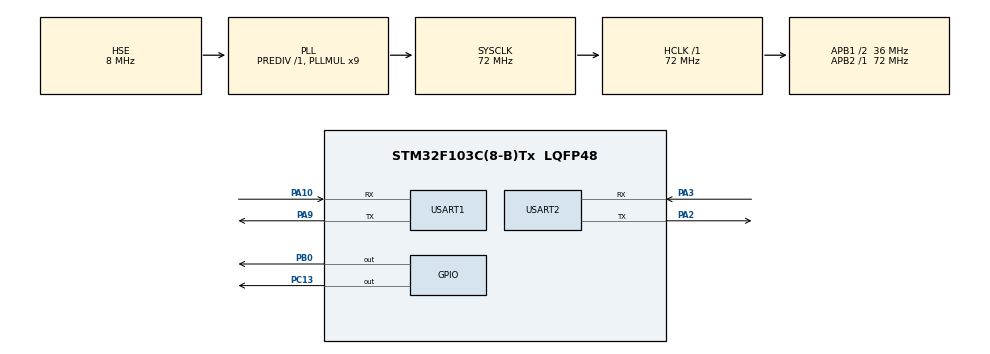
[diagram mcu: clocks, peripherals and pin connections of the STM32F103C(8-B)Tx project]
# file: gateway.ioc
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Mcu.Family=STM32F1
Mcu.Name=STM32F103C(8-B)Tx
Mcu.Package=LQFP48
NVIC.PriorityGroup=NVIC_PRIORITYGROUP_4
NVIC.USART1_IRQn=true\:2\:0\:true\:false\:true\:true\:true\:true
PA10.Mode=Asynchronous
PA10.Signal=USART1_RX
PA13.Mode=Serial_Wire
PA13.Signal=SYS_JTMS-SWDIO
PA14.Mode=Serial_Wire
PA14.Signal=SYS_JTCK-SWCLK
PA2.Mode=Asynchronous
PA2.Signal=USART2_TX
PA3.Mode=Asynchronous
PA3.Signal=USART2_RX
PA9.Mode=Asynchronous
PA9.Signal=USART1_TX
PB0.Signal=GPIO_Output
PC13-TAMPER-RTC.Signal=GPIO_Output
PD0-OSC_IN.Mode=HSE-External-Oscillator
PD0-OSC_IN.Signal=RCC_OSC_IN
PD1-OSC_OUT.Mode=HSE-External-Oscillator
PD1-OSC_OUT.Signal=RCC_OSC_OUT
ProjectManager.HeapSize=0x200
ProjectManager.StackSize=0x400
ProjectManager.TargetToolchain=Makefile
RCC.AHBFreq_Value=72000000
RCC.APB1CLKDivider=RCC_HCLK_DIV2
RCC.APB1Freq_Value=36000000
RCC.APB1TimFreq_Value=72000000
RCC.APB2Freq_Value=72000000
RCC.APB2TimFreq_Value=72000000
RCC.HCLKFreq_Value=72000000
RCC.PLLMUL=RCC_PLL_MUL9
RCC.PLLSourceVirtual=RCC_PLLSOURCE_HSE
RCC.SYSCLKFreq_VALUE=72000000
RCC.SYSCLKSource=RCC_SYSCLKSOURCE_PLLCLK
RCC.USBFreq_Value=72000000
USART1.VirtualMode=VM_ASYNC
USART2.VirtualMode=VM_ASYNC
VP_TIM4_VS_ClockSourceINT.Mode=Internal
board=custom

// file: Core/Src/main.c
/* USER CODE BEGIN Header */
/**
  ******************************************************************************
  * @file           : main.c
  * @brief          : Main program body
  ******************************************************************************
  * @attention
  *
  * Copyright (c) 2025 STMicroelectronics.
  * All rights reserved.
  *
  * This software is licensed under terms that can be found in the LICENSE file
  * in the root directory of this software component.
  * If no LICENSE file comes with this software, it is provided AS-IS.
  *
  ******************************************************************************
  */
/* USER CODE END Header */
#include "main.h"

/* USER CODE BEGIN Includes */
#include <string.h>
#include <stdio.h>
#include "pzem.h"
/* USER CODE END Includes */

TIM_HandleTypeDef htim4;

UART_HandleTypeDef huart1;
UART_HandleTypeDef huart2;

void SystemClock_Config(void);
static void MX_GPIO_Init(void);
static void MX_TIM4_Init(void);
static void MX_USART1_UART_Init(void);
static void MX_USART2_UART_Init(void);
/* USER CODE BEGIN PFP */
void microDelay(uint16_t delay);
uint8_t DHT22_Start(void);
uint8_t DHT22_Read(void);
void DHT22(void);
/* USER CODE END PFP */

/* USER CODE BEGIN 0 */

#define DHT22_PORT GPIOB
#define DHT22_PIN GPIO_PIN_9
#define CHANNEL 0x0D      // Địa chỉ của thiết bị gửi 0x0D - 13 || 0x0B - 11 || 0x0A - 10
#define DEST_ADDRESS_HIGH 0x00         // Địa chỉ của thiết bị nhận (160)
#define DEST_ADDRESS_LOW 0xA0 //0xA0 - 160 || 0x8C - 140 || 0x96 - 150
uint8_t RH1, RH2, TC1, TC2, SUM, CHECK;
uint32_t pMillis, cMillis;
float Temp = 0;
float RH = 0;

uint8_t rxData;
//uint8_t rxBuffer[10] = {0};
//uint8_t rxIndex = 0;
//uint8_t dataReady = 0;
uint8_t led = 0;

// LoRa Message
char ID[20] = "R11";          // ID thiết bị
float Temperature;
float Humidity;       // Nhiệt độ và độ ẩm
float Energy;     // Năng lượng tiêu thụ
float Voltage;      // Điện áp
float Current;       // Dòng điện
float Power;     // Công suất

char loraMessage[128];    // Payload dữ liệu
uint8_t loraPacket[128]; // Buffer gói tin LoRa

void microDelay (uint16_t delay)
{
  __HAL_TIM_SET_COUNTER(&htim4, 0);
  while (__HAL_TIM_GET_COUNTER(&htim4) < delay);
}

//DHT22
uint8_t DHT22_Start (void)
{
  uint8_t Response = 0;
  GPIO_InitTypeDef GPIO_InitStructPrivate = {0};
  GPIO_InitStructPrivate.Pin = DHT22_PIN;
  GPIO_InitStructPrivate.Mode = GPIO_MODE_OUTPUT_PP;
  GPIO_InitStructPrivate.Speed = GPIO_SPEED_FREQ_LOW;
  GPIO_InitStructPrivate.Pull = GPIO_NOPULL;
  HAL_GPIO_Init(DHT22_PORT, &GPIO_InitStructPrivate); // set the pin as output
  HAL_GPIO_WritePin (DHT22_PORT, DHT22_PIN, 0);   // pull the pin low
  microDelay (1300);   // wait for 1300us
  HAL_GPIO_WritePin (DHT22_PORT, DHT22_PIN, 1);   // pull the pin high
  microDelay (30);   // wait for 30us
  GPIO_InitStructPrivate.Mode = GPIO_MODE_INPUT;
  GPIO_InitStructPrivate.Pull = GPIO_PULLUP;
  HAL_GPIO_Init(DHT22_PORT, &GPIO_InitStructPrivate); // set the pin as input
  microDelay (40);
  if (!(HAL_GPIO_ReadPin (DHT22_PORT, DHT22_PIN)))
  {
    microDelay (80);
    if ((HAL_GPIO_ReadPin (DHT22_PORT, DHT22_PIN))) Response = 1;
  }
  pMillis = HAL_GetTick();
  cMillis = HAL_GetTick();
  while ((HAL_GPIO_ReadPin (DHT22_PORT, DHT22_PIN)) && pMillis + 2 > cMillis)
  {
    cMillis = HAL_GetTick();
  }
  return Response;
}

uint8_t DHT22_Read (void)
{
  uint8_t a,b =0;
  for (a=0;a<8;a++)
  {
    pMillis = HAL_GetTick();
    cMillis = HAL_GetTick();
    while (!(HAL_GPIO_ReadPin (DHT22_PORT, DHT22_PIN)) && pMillis + 2 > cMillis)
    {  // wait for the pin to go high
      cMillis = HAL_GetTick();
    }
    microDelay (40);   // wait for 40 us
    if (!(HAL_GPIO_ReadPin (DHT22_PORT, DHT22_PIN)))   // if the pin is low
      b&= ~(1<<(7-a)); //bit 0
    else
      b|= (1<<(7-a)); // bit 1
    pMillis = HAL_GetTick();
    cMillis = HAL_GetTick();
    while ((HAL_GPIO_ReadPin (DHT22_PORT, DHT22_PIN)) && pMillis + 2 > cMillis)
    {  // wait for the pin to go low
      cMillis = HAL_GetTick();
    }
  }
  return b;
}
void DHT22(){
	if(DHT22_Start())
	      {
	        RH1 = DHT22_Read(); // First 8bits of humidity
	        RH2 = DHT22_Read(); // Second 8bits of Relative humidity
	        TC1 = DHT22_Read(); // First 8bits of Celsius
	        TC2 = DHT22_Read(); // Second 8bits of Celsius
	        SUM = DHT22_Read(); // Check sum
	        CHECK = RH1 + RH2 + TC1 + TC2;
	        if (CHECK == SUM)
	        {
	          if (TC1>127) // If TC1=10000000, negative temperature
	          {
	            Temp = (float)TC2/10*(-1);
	          }
	          else
	          {
	            Temp = (float)((TC1<<8)|TC2)/10;
	          }
	          RH = (float) ((RH1<<8)|RH2)/10;
	        }
	      }
}

//DHT22

volatile uint8_t _flag = 0;

void HAL_UART_RxCpltCallback(UART_HandleTypeDef *huart)
{
    if (huart->Instance == USART1) {
        if (rxData == 1) {
            HAL_GPIO_WritePin(GPIOB, GPIO_PIN_0, GPIO_PIN_SET);
        } else {
            HAL_GPIO_WritePin(GPIOB, GPIO_PIN_0, GPIO_PIN_RESET);
        }

        _flag = !_flag; // Đổi trạng thái để task biết đã có dữ liệu

        // Gọi lại nhận UART để tiếp tục nhận byte tiếp theo
        HAL_UART_Receive_IT(&huart1, &rxData, 1);
    }
}

PZEM PzemData;

/* USER CODE END 0 */

int main(void)
{

  /* MCU Configuration--------------------------------------------------------*/

  /* Reset of all peripherals, Initializes the Flash interface and the Systick. */
  HAL_Init();

  /* Configure the system clock */
  SystemClock_Config();

  /* Initialize all configured peripherals */
  MX_GPIO_Init();
  MX_TIM4_Init();
  MX_USART1_UART_Init();
  MX_USART2_UART_Init();
  /* USER CODE BEGIN 2 */
  HAL_TIM_Base_Start(&htim4);
  HAL_UART_Receive_IT(&huart1, &rxData, 1);
  pzem_Init(&huart2);

  /* USER CODE END 2 */

  /* Infinite loop */
  while (1)
  {

    /* USER CODE BEGIN 3 */
    // Đọc dữ liệu từ DHT22
    DHT22();
    pzem_READ(&PzemData);
    Energy =PzemData.energy;
    Current = PzemData.current;
    Voltage = PzemData.voltage;
    Power = PzemData.power;

    // Tạo payload
    if (Temp == -999.0 || RH == -999.0)
    {
      sprintf(loraMessage, "Temp: N/A, RH: N/A");
    }
    else
    {
      // Chuyển đổi float thành int để tránh vấn đề với sprintf không hỗ trợ float
      Temperature = Temp;
      Humidity = RH;
    }

    HAL_GPIO_TogglePin(GPIOC, GPIO_PIN_13);
    sprintf(loraMessage, "ID:%s,T:%.2f,H:%.2f,E:%.2f,C:%.2f,V:%.2f,P:%.2f",
    ID, Temperature, Humidity, Energy, Current, Voltage, Power);

    // Tạo gói tin LoRa với địa chỉ
    uint8_t packetLen = 0;
    loraPacket[packetLen++] = DEST_ADDRESS_HIGH;   // Địa chỉ thiết bị nhận (160)
    loraPacket[packetLen++] = DEST_ADDRESS_LOW;
    loraPacket[packetLen++] = CHANNEL; //  thiết bị gửi đến kênh
    memcpy(&loraPacket[packetLen], loraMessage, strlen(loraMessage)); // Payload
    packetLen += strlen(loraMessage);
    loraPacket[packetLen++] = '\n'; // Kết thúc gói tin

    // Gửi qua UART1 (LoRa)
    HAL_UART_Transmit(&huart1, loraPacket, packetLen, HAL_MAX_DELAY);

    HAL_Delay(500);
  }
  /* USER CODE END 3 */
}

void SystemClock_Config(void)
{
  RCC_OscInitTypeDef RCC_OscInitStruct = {0};
  RCC_ClkInitTypeDef RCC_ClkInitStruct = {0};

  /** Initializes the RCC Oscillators according to the specified parameters
  * in the RCC_OscInitTypeDef structure.
  */
  RCC_OscInitStruct.OscillatorType = RCC_OSCILLATORTYPE_HSE;
  RCC_OscInitStruct.HSEState = RCC_HSE_ON;
  RCC_OscInitStruct.HSEPredivValue = RCC_HSE_PREDIV_DIV1;
  RCC_OscInitStruct.HSIState = RCC_HSI_ON;
  RCC_OscInitStruct.PLL.PLLState = RCC_PLL_ON;
  RCC_OscInitStruct.PLL.PLLSource = RCC_PLLSOURCE_HSE;
  RCC_OscInitStruct.PLL.PLLMUL = RCC_PLL_MUL9;
  if (HAL_RCC_OscConfig(&RCC_OscInitStruct) != HAL_OK)
  {
    Error_Handler();
  }

  /** Initializes the CPU, AHB and APB buses clocks
  */
  RCC_ClkInitStruct.ClockType = RCC_CLOCKTYPE_HCLK|RCC_CLOCKTYPE_SYSCLK
                              |RCC_CLOCKTYPE_PCLK1|RCC_CLOCKTYPE_PCLK2;
  RCC_ClkInitStruct.SYSCLKSource = RCC_SYSCLKSOURCE_PLLCLK;
  RCC_ClkInitStruct.AHBCLKDivider = RCC_SYSCLK_DIV1;
  RCC_ClkInitStruct.APB1CLKDivider = RCC_HCLK_DIV2;
  RCC_ClkInitStruct.APB2CLKDivider = RCC_HCLK_DIV1;

  if (HAL_RCC_ClockConfig(&RCC_ClkInitStruct, FLASH_LATENCY_2) != HAL_OK)
  {
    Error_Handler();
  }
}

static void MX_TIM4_Init(void)
{

  TIM_ClockConfigTypeDef sClockSourceConfig = {0};
  TIM_MasterConfigTypeDef sMasterConfig = {0};

  htim4.Instance = TIM4;
  htim4.Init.Prescaler = 72-1;
  htim4.Init.CounterMode = TIM_COUNTERMODE_UP;
  htim4.Init.Period = 65535;
  htim4.Init.ClockDivision = TIM_CLOCKDIVISION_DIV1;
  htim4.Init.AutoReloadPreload = TIM_AUTORELOAD_PRELOAD_DISABLE;
  if (HAL_TIM_Base_Init(&htim4) != HAL_OK)
  {
    Error_Handler();
  }
  sClockSourceConfig.ClockSource = TIM_CLOCKSOURCE_INTERNAL;
  if (HAL_TIM_ConfigClockSource(&htim4, &sClockSourceConfig) != HAL_OK)
  {
    Error_Handler();
  }
  sMasterConfig.MasterOutputTrigger = TIM_TRGO_RESET;
  sMasterConfig.MasterSlaveMode = TIM_MASTERSLAVEMODE_DISABLE;
  if (HAL_TIMEx_MasterConfigSynchronization(&htim4, &sMasterConfig) != HAL_OK)
  {
    Error_Handler();
  }

}

static void MX_USART1_UART_Init(void)
{

  huart1.Instance = USART1;
  huart1.Init.BaudRate = 9600;
  huart1.Init.WordLength = UART_WORDLENGTH_8B;
  huart1.Init.StopBits = UART_STOPBITS_1;
  huart1.Init.Parity = UART_PARITY_NONE;
  huart1.Init.Mode = UART_MODE_TX_RX;
  huart1.Init.HwFlowCtl = UART_HWCONTROL_NONE;
  huart1.Init.OverSampling = UART_OVERSAMPLING_16;
  if (HAL_UART_Init(&huart1) != HAL_OK)
  {
    Error_Handler();
  }

}

static void MX_USART2_UART_Init(void)
{

  huart2.Instance = USART2;
  huart2.Init.BaudRate = 9600;
  huart2.Init.WordLength = UART_WORDLENGTH_8B;
  huart2.Init.StopBits = UART_STOPBITS_1;
  huart2.Init.Parity = UART_PARITY_NONE;
  huart2.Init.Mode = UART_MODE_TX_RX;
  huart2.Init.HwFlowCtl = UART_HWCONTROL_NONE;
  huart2.Init.OverSampling = UART_OVERSAMPLING_16;
  if (HAL_UART_Init(&huart2) != HAL_OK)
  {
    Error_Handler();
  }

}

static void MX_GPIO_Init(void)
{
  GPIO_InitTypeDef GPIO_InitStruct = {0};

  /* GPIO Ports Clock Enable */
  __HAL_RCC_GPIOD_CLK_ENABLE();
  __HAL_RCC_GPIOA_CLK_ENABLE();
  __HAL_RCC_GPIOB_CLK_ENABLE();

  /*Configure GPIO pin Output Level */
  HAL_GPIO_WritePin(GPIOB, GPIO_PIN_0, GPIO_PIN_RESET);

  /*Configure GPIO pin : PB0 */
  GPIO_InitStruct.Pin = GPIO_PIN_0;
  GPIO_InitStruct.Mode = GPIO_MODE_OUTPUT_PP;
  GPIO_InitStruct.Pull = GPIO_NOPULL;
  GPIO_InitStruct.Speed = GPIO_SPEED_FREQ_LOW;
  HAL_GPIO_Init(GPIOB, &GPIO_InitStruct);

}

void Error_Handler(void)
{
  __disable_irq();
  while (1)
  {
  }
}
